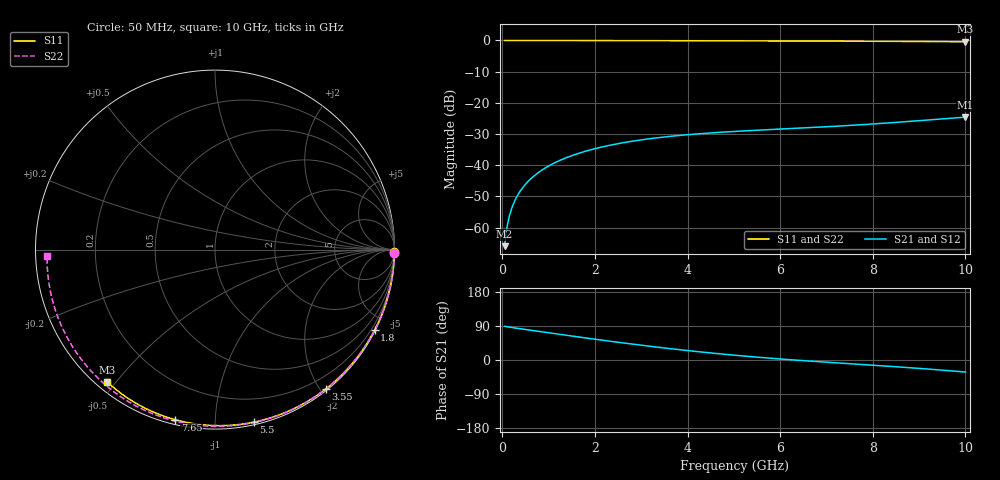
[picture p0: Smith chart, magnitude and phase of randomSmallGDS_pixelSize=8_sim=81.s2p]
! freq	dB(S11)	phase(S11)	dB(S12)	phase(S12)
!  dB(S21)	phase(S21)	dB(S22)	phase(S22)
!S-par simulation data
#  GHz  S  DB  R 50
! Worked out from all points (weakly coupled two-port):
!   200 points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, 50 MHz to 10 GHz, reference 50 ohm
!   highest |S21| = -24.59 dB at 10 GHz (marker M1); lowest = -66.0 dB at 50 MHz (marker M2)
!   lowest |S11| = -0.4 dB at 10 GHz (marker M3), VSWR 39.64, Z = 1.55 - j23.7 ohm
!   |S11| at or under -10 dB: nowhere
!   |S22| runs from -0.6 to 0.0 dB; largest |S21 - S12| = 0
!   S11 on the Smith chart (normalised r, x): 50 MHz: open; 1.8 GHz: 0.04, -4.20; 3.55 GHz: 0.02, -2.07; 5.5 GHz: 0.02, -1.25; 7.65 GHz: 0.02, -0.79; 10 GHz: 0.03, -0.47
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0.05  -0.00 -0.8  -65.97 88.9  -65.97 88.9  -0.00 -1.1
0.1  -0.00 -1.5  -59.96 87.9  -59.96 87.9  -0.00 -2.1
0.15  -0.00 -2.3  -56.46 86.8  -56.46 86.8  -0.00 -3.2
0.2  -0.00 -3.0  -53.98 85.9  -53.98 85.9  -0.00 -4.2
0.35  -0.00 -5.3  -49.18 83.1  -49.18 83.1  -0.01 -7.4
0.5  -0.01 -7.6  -46.13 80.5  -46.13 80.5  -0.01 -10.5
0.7  -0.01 -10.5  -43.27 77.0  -43.27 77.0  -0.02 -14.7
1  -0.02 -15.0  -40.27 71.8  -40.27 71.8  -0.03 -20.9
1.35  -0.03 -20.2  -37.79 65.8  -37.79 65.8  -0.04 -28.0
1.75  -0.03 -26.1  -35.73 59.0  -35.73 59.0  -0.05 -36.1
1.8  -0.04 -26.8  -35.51 58.2  -35.51 58.2  -0.05 -37.1
2.6  -0.05 -38.3  -32.82 45.2  -32.82 45.2  -0.07 -52.9
3.4  -0.07 -49.5  -31.12 33.2  -31.12 33.2  -0.09 -68.1
3.55  -0.07 -51.6  -30.87 31.0  -30.87 31.0  -0.10 -70.8
4.3  -0.09 -61.7  -29.87 21.1  -29.87 21.1  -0.12 -84.4
5.05  -0.11 -71.6  -29.14 12.2  -29.14 12.2  -0.15 -97.4
5.5  -0.13 -77.3  -28.78 7.5  -28.78 7.5  -0.17 -105.0
6.7  -0.18 -92.0  -27.91 -3.4  -27.91 -3.4  -0.24 -124.6
7.65  -0.24 -103.1  -27.12 -10.9  -27.12 -10.9  -0.32 -139.7
8.35  -0.28 -111.1  -26.43 -16.5  -26.43 -16.5  -0.38 -150.9
9.2  -0.36 -120.5  -25.50 -23.9  -25.50 -23.9  -0.47 -164.6
10  -0.44 -129.2  -24.59 -31.7  -24.59 -31.7  -0.57 -178.0
